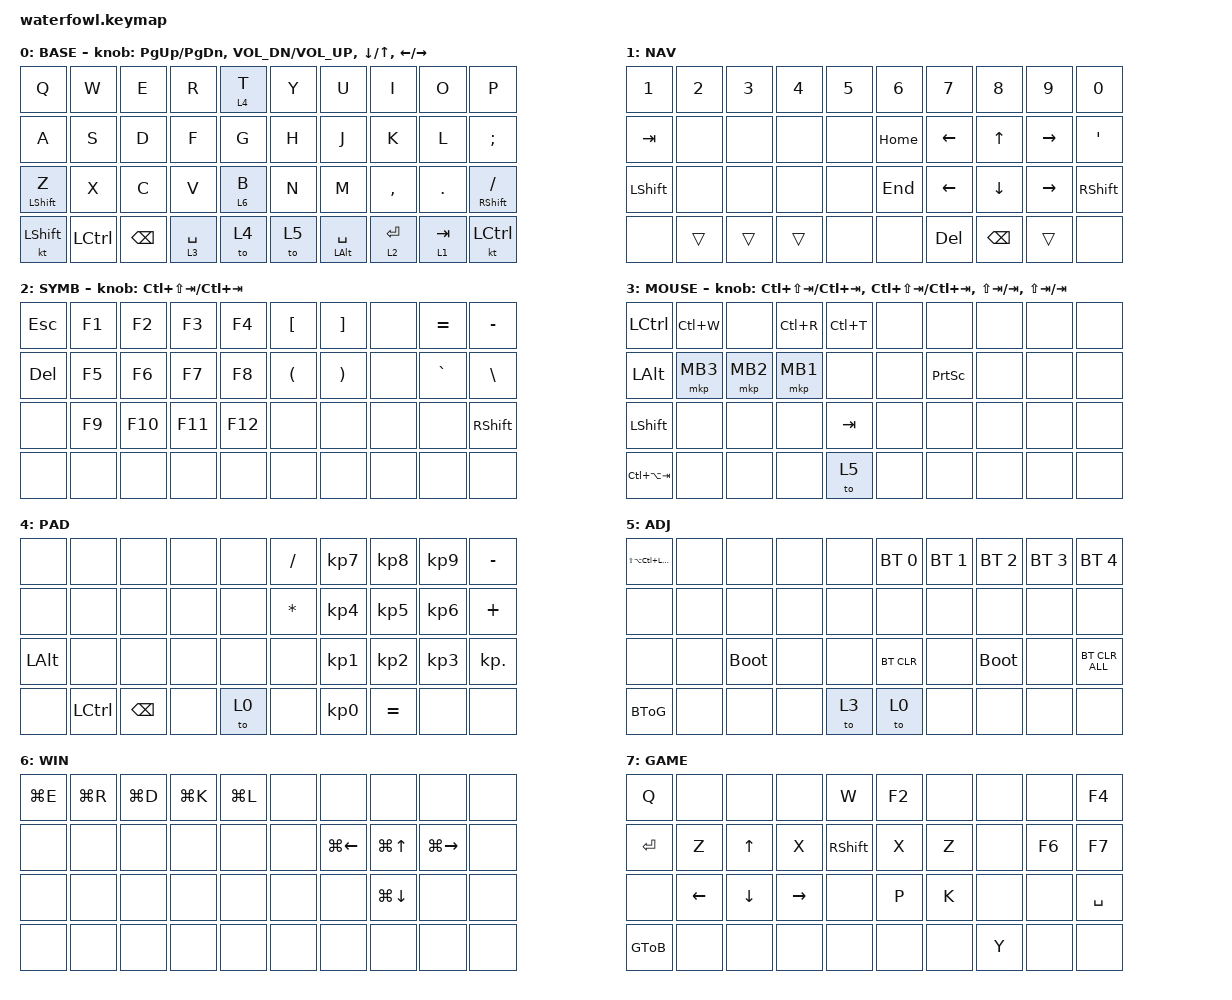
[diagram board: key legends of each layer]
/*
 * Copyright (c) 2022 The ZMK Contributors
 *
 * SPDX-License-Identifier: MIT
 */

#include <behaviors.dtsi>
#include <dt-bindings/zmk/bt.h>
#include <dt-bindings/zmk/keys.h>
#include <dt-bindings/zmk/keys.h>
#include <dt-bindings/zmk/mouse.h>

/ {
    macros {
        GToB: new_macro {
            compatible = "zmk,behavior-macro";
            #binding-cells = <0>;
            bindings =
                <&kp LG(L)>,
                <&macro_wait_time 20>,
                <&bt BT_SEL 0>,
                <&macro_wait_time 500>,
                <&to 0>;

            label = "NEW_MACRO";
        };

        BToG: BTOG {
            compatible = "zmk,behavior-macro";
            #binding-cells = <0>;
            bindings = <&bt BT_SEL 1>, <&macro_wait_time 20>, <&to 7>;

            label = "BTOG";
        };
    };

    keymap {
        compatible = "zmk,keymap";

        BASE {
            /* QWERTY
 *
 * ,----------------------------------.                      ,----------------------------------.
 * |   Q  |   W  |   E  |   R  |   T  |                      |   Y  |   U  |   I  |   O  |   P  |
 * |------+------+------+------+------|                      |------+------+------+------+------|
 * |   A  |   S  |   D  |   F  |   G  |                      |   H  |   J  |   K  |   L  |   ;  |
 * |------+------+------+------+------|  ,-----.    ,-----.  |------+------+------+------+------|
 * |   Z  |   X  |   C  |   V  |   B  |  |  2  |    |  3  |  |   N  |   M  |   ,  |   .  |   /  |
 * `----------------------------------'  `-----'    `-----'  `----------------------------------'
 *          ,-----.   ,--------------------.            ,--------------------.   ,-----.
 *          |  1  |   | DEL | SPACE | TAB  |            |  ESC  | BS | ENTER |   |  4  |
 *          `-----'   `--------------------'            `--------------------'   `-----'
 */

            bindings = <
&kp Q         &kp W      &kp E     &kp R        &lt 4 T    &kp Y  &kp U           &kp I        &kp O      &kp P
&kp A         &kp S      &kp D     &kp F        &kp G      &kp H  &kp J           &kp K        &kp L      &kp SEMICOLON
&mt LSHIFT Z  &kp X      &kp C     &kp V        &lt 6 B    &kp N  &kp M           &kp COMMA    &kp DOT    &mt RSHIFT SLASH
&kt LSHIFT    &kp LCTRL  &kp BSPC  &lt 3 SPACE  &to 4      &to 5  &mt LALT SPACE  &lt 2 ENTER  &lt 1 TAB  &kt LCTRL
            >;

            sensor-bindings =
                <&inc_dec_kp PAGE_UP PAGE_DOWN>,
                <&inc_dec_kp C_VOL_DN C_VOL_UP>,
                <&inc_dec_kp DOWN UP>,
                <&inc_dec_kp LEFT RIGHT>;
        };

        NAV {
            bindings = <
&kp N1     &kp N2  &kp N3  &kp N4  &kp N5    &kp N6    &kp N7    &kp N8         &kp N9     &kp N0
&kp TAB    &none   &none   &none   &none     &kp HOME  &kp LEFT  &kp UP         &kp RIGHT  &kp SQT
&kp LSHFT  &none   &none   &none   &none     &kp END   &kp LEFT  &kp DOWN       &kp RIGHT  &kp RSHFT
&none      &trans  &trans  &trans  &none     &none     &kp DEL   &kp BACKSPACE  &trans     &none
            >;
        };

        SYMB {
            bindings = <
&kp ESC  &kp F1  &kp F2   &kp F3   &kp F4     &kp LBKT              &kp RBKT               &none  &kp EQUAL  &kp MINUS
&kp DEL  &kp F5  &kp F6   &kp F7   &kp F8     &kp LEFT_PARENTHESIS  &kp RIGHT_PARENTHESIS  &none  &kp GRAVE  &kp BSLH
&none    &kp F9  &kp F10  &kp F11  &kp F12    &none                 &none                  &none  &none      &kp RSHFT
&none    &none   &none    &none    &none      &none                 &none                  &none  &none      &none
            >;

            sensor-bindings = <&inc_dec_kp LC(LS(TAB)) LC(TAB)>;
        };

        MOUSE {
            bindings = <
&kp LCTRL        &kp LC(W)  &none     &kp LC(R)  &kp LC(T)    &none  &none            &none  &none  &none
&kp LALT         &mkp MB3   &mkp MB2  &mkp MB1   &none        &none  &kp PRINTSCREEN  &none  &none  &none
&kp LSHFT        &none      &none     &none      &kp TAB      &none  &none            &none  &none  &none
&kp LC(LA(TAB))  &none      &none     &none      &to 5        &none  &none            &none  &none  &none
            >;

            sensor-bindings =
                <&inc_dec_kp LC(LS(TAB)) LC(TAB)>,
                <&inc_dec_kp LC(LS(TAB)) LC(TAB)>,
                <&inc_dec_kp LS(TAB) TAB>,
                <&inc_dec_kp LS(TAB) TAB>;
        };

        PAD {
            bindings = <
&none         &none      &none          &none  &none    &kp FSLH  &kp KP_N7  &kp KP_N8  &kp KP_N9  &kp MINUS
&none         &none      &none          &none  &none    &kp STAR  &kp KP_N4  &kp KP_N5  &kp KP_N6  &kp PLUS
&kp LEFT_ALT  &none      &none          &none  &none    &none     &kp KP_N1  &kp KP_N2  &kp KP_N3  &kp KP_DOT
&none         &kp LCTRL  &kp BACKSPACE  &none  &to 0    &none     &kp KP_N0  &kp EQUAL  &none      &none
            >;
        };

        ADJ {
            bindings = <
&kp LS(LA(LC(LEFT_GUI)))  &none  &none        &none  &none    &bt BT_SEL 0  &bt BT_SEL 1  &bt BT_SEL 2  &bt BT_SEL 3  &bt BT_SEL 4
&none                     &none  &none        &none  &none    &none         &none         &none         &none         &none
&none                     &none  &bootloader  &none  &none    &bt BT_CLR    &none         &bootloader   &none         &bt BT_CLR_ALL
&BToG                     &none  &none        &none  &to 3    &to 0         &none         &none         &none         &none
            >;
        };

        WIN {
            bindings = <
&kp LG(E)  &kp LG(R)  &kp LG(D)  &kp LG(K)  &kp LG(L)    &none  &none               &none         &none          &none
&none      &none      &none      &none      &none        &none  &kp LG(LEFT_ARROW)  &kp LG(UP)    &kp LG(RIGHT)  &none
&none      &none      &none      &none      &none        &none  &none               &kp LG(DOWN)  &none          &none
&none      &none      &none      &none      &none        &none  &none               &none         &none          &none
            >;
        };

        GAME {
            bindings = <
&kp Q      &none     &none     &none      &kp W              &kp F2  &none  &none  &none   &kp F4
&kp ENTER  &kp Z     &kp UP    &kp X      &kp RIGHT_SHIFT    &kp X   &kp Z  &none  &kp F6  &kp F7
&none      &kp LEFT  &kp DOWN  &kp RIGHT  &none              &kp P   &kp K  &none  &none   &kp SPACE
&GToB      &none     &none     &none      &none              &none   &none  &kp Y  &none   &none
            >;
        };
    };
};
